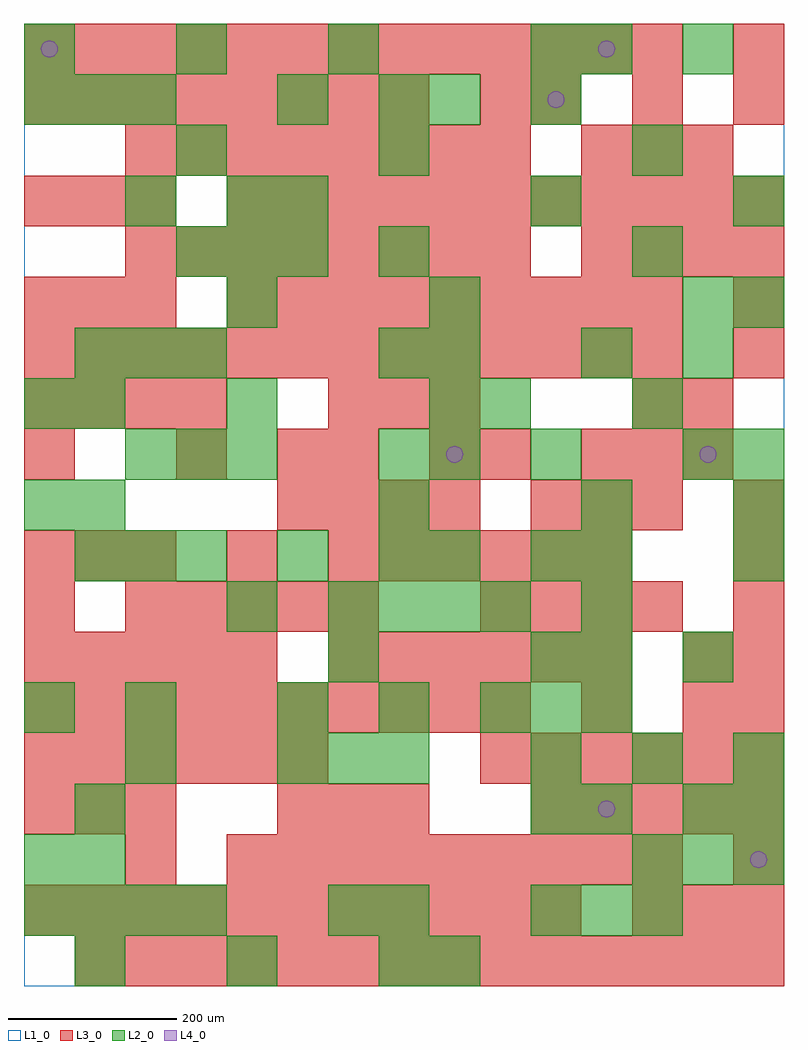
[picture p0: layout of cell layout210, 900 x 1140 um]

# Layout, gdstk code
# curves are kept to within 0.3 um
import gdstk
lib = gdstk.Library(unit=1e-6, precision=1e-09)
def R(c, l, rs):  # rectangles x0, y0, x1, y1
    for r in rs: c.add(gdstk.rectangle(r[:2], r[2:], *l))
def A(c, l, x, y, w, h, nx, ny, dx, dy):  # array of equal rectangles
    R(c, l, [(x+i*dx, y+j*dy, x+i*dx+w, y+j*dy+h) for i in range(nx) for j in range(ny)])
def P(c, l, *ps):  # polygons
    for p in ps: c.add(gdstk.Polygon(p, *l))
L1_0 = (1, 0)
L2_0 = (2, 0)
L3_0 = (3, 0)
L4_0 = (4, 0)

layout210 = lib.new_cell('layout210')
R(layout210, L1_0, [(0,0,900,1140)])
A(layout210, L2_0, 60, 0, 60, 60, 3, 1, 180, 0)
A(layout210, L2_0, 0, 60, 60, 60, 4, 1, 60, 0)
A(layout210, L2_0, 600, 60, 60, 60, 3, 1, 60, 0)
A(layout210, L2_0, 720, 120, 60, 60, 3, 1, 60, 0)
A(layout210, L2_0, 300, 240, 60, 60, 3, 1, 60, 0)
A(layout210, L2_0, 600, 240, 60, 60, 3, 1, 120, 0)
A(layout210, L2_0, 300, 300, 60, 60, 3, 1, 120, 0)
A(layout210, L2_0, 660, 300, 60, 60, 1, 5, 0, 60)
A(layout210, L2_0, 600, 360, 60, 60, 1, 3, 0, 120)
A(layout210, L2_0, 360, 420, 60, 60, 4, 1, 60, 0)
A(layout210, L2_0, 60, 480, 60, 60, 3, 2, 60, 240)
A(layout210, L2_0, 420, 480, 60, 60, 1, 3, 0, 60)
A(layout210, L2_0, 840, 480, 60, 60, 1, 3, 0, 60)
A(layout210, L2_0, 120, 600, 60, 60, 3, 1, 60, 0)
A(layout210, L2_0, 480, 600, 60, 60, 1, 4, 0, 60)
A(layout210, L2_0, 240, 660, 60, 60, 1, 3, 0, 120)
A(layout210, L2_0, 420, 720, 60, 60, 1, 3, 0, 120)
A(layout210, L2_0, 180, 840, 60, 60, 3, 1, 60, 0)
A(layout210, L2_0, 0, 1020, 60, 60, 3, 1, 60, 0)
A(layout210, L2_0, 0, 1080, 60, 60, 3, 1, 180, 0)
R(layout210, L2_0, [(480,0,540,60), (360,60,420,120), (420,60,480,120), (0,120,60,180), (60,120,120,180), (60,180,120,240), (600,180,660,240), (660,180,720,240), (780,180,840,240), (840,180,900,240), (120,240,180,300), (0,300,60,360), (120,300,180,360), (600,300,660,360), (360,360,420,420), (780,360,840,420), (240,420,300,480), (300,480,360,540), (480,480,540,540), (0,540,60,600), (60,540,120,600), (780,600,840,660), (0,660,60,720), (60,660,120,720), (540,660,600,720), (720,660,780,720), (660,720,720,780), (780,720,840,780), (780,780,840,840), (840,780,900,840), (720,840,780,900), (120,900,180,960), (300,900,360,960), (600,900,660,960), (840,900,900,960), (180,960,240,1020), (720,960,780,1020), (300,1020,360,1080), (420,1020,480,1080), (480,1020,540,1080), (600,1020,660,1080), (600,1080,660,1140), (660,1080,720,1140), (780,1080,840,1140)])
A(layout210, L3_0, 60, 0, 60, 60, 14, 1, 60, 0)
A(layout210, L3_0, 0, 60, 60, 60, 11, 1, 60, 0)
A(layout210, L3_0, 720, 60, 60, 60, 3, 1, 60, 0)
A(layout210, L3_0, 240, 120, 60, 60, 9, 2, 60, 660)
A(layout210, L3_0, 0, 180, 60, 60, 3, 3, 60, 300)
A(layout210, L3_0, 300, 180, 60, 60, 3, 1, 60, 0)
A(layout210, L3_0, 600, 180, 60, 60, 5, 1, 60, 0)
A(layout210, L3_0, 0, 240, 60, 60, 6, 1, 60, 0)
A(layout210, L3_0, 540, 240, 60, 60, 6, 1, 60, 0)
A(layout210, L3_0, 0, 300, 60, 60, 10, 1, 60, 0)
A(layout210, L3_0, 840, 300, 60, 60, 1, 5, 0, 60)
A(layout210, L3_0, 0, 360, 60, 60, 5, 1, 60, 0)
A(layout210, L3_0, 360, 360, 60, 60, 6, 2, 60, 120)
A(layout210, L3_0, 120, 420, 60, 60, 5, 1, 60, 0)
A(layout210, L3_0, 540, 420, 60, 60, 4, 1, 60, 0)
A(layout210, L3_0, 300, 540, 60, 60, 4, 1, 60, 0)
A(layout210, L3_0, 600, 540, 60, 60, 3, 1, 60, 0)
A(layout210, L3_0, 660, 600, 60, 60, 3, 2, 60, 360)
A(layout210, L3_0, 0, 660, 60, 60, 4, 1, 60, 0)
A(layout210, L3_0, 360, 660, 60, 60, 3, 1, 60, 0)
A(layout210, L3_0, 0, 720, 60, 60, 13, 2, 60, 360)
A(layout210, L3_0, 120, 840, 60, 60, 8, 2, 60, 120)
A(layout210, L3_0, 660, 840, 60, 60, 4, 1, 60, 0)
A(layout210, L3_0, 0, 900, 60, 60, 3, 1, 60, 0)
A(layout210, L3_0, 240, 900, 60, 60, 11, 1, 60, 0)
A(layout210, L3_0, 0, 1020, 60, 60, 8, 1, 60, 0)
A(layout210, L3_0, 600, 1020, 60, 60, 3, 1, 120, 0)
R(layout210, L3_0, [(120,120,180,180), (840,120,900,180), (660,300,720,360), (780,300,840,360), (780,360,840,420), (0,420,60,480), (240,480,300,540), (0,600,60,660), (180,600,240,660), (300,600,360,660), (360,600,420,660), (480,600,540,660), (540,600,600,660), (720,660,780,720), (780,660,840,720), (840,720,900,780), (840,780,900,840), (540,1020,600,1080), (840,1080,900,1140)])
P(layout210, L4_0, [(40,1110),(39.239,1113.827),(37.071,1117.071),(33.827,1119.239),(30,1120),(26.173,1119.239),(22.929,1117.071),(20.761,1113.827),(20,1110),(20.761,1106.173),(22.929,1102.929),(26.173,1100.761),(30,1100),(33.827,1100.761),(37.071,1102.929),(39.239,1106.173)],
  [(520,630),(519.239,633.827),(517.071,637.071),(513.827,639.239),(510,640),(506.173,639.239),(502.929,637.071),(500.761,633.827),(500,630),(500.761,626.173),(502.929,622.929),(506.173,620.761),(510,620),(513.827,620.761),(517.071,622.929),(519.239,626.173)],
  [(640,1050),(639.239,1053.827),(637.071,1057.071),(633.827,1059.239),(630,1060),(626.173,1059.239),(622.929,1057.071),(620.761,1053.827),(620,1050),(620.761,1046.173),(622.929,1042.929),(626.173,1040.761),(630,1040),(633.827,1040.761),(637.071,1042.929),(639.239,1046.173)],
  [(700,210),(699.239,213.827),(697.071,217.071),(693.827,219.239),(690,220),(686.173,219.239),(682.929,217.071),(680.761,213.827),(680,210),(680.761,206.173),(682.929,202.929),(686.173,200.761),(690,200),(693.827,200.761),(697.071,202.929),(699.239,206.173)],
  [(700,1110),(699.239,1113.827),(697.071,1117.071),(693.827,1119.239),(690,1120),(686.173,1119.239),(682.929,1117.071),(680.761,1113.827),(680,1110),(680.761,1106.173),(682.929,1102.929),(686.173,1100.761),(690,1100),(693.827,1100.761),(697.071,1102.929),(699.239,1106.173)],
  [(820,630),(819.239,633.827),(817.071,637.071),(813.827,639.239),(810,640),(806.173,639.239),(802.929,637.071),(800.761,633.827),(800,630),(800.761,626.173),(802.929,622.929),(806.173,620.761),(810,620),(813.827,620.761),(817.071,622.929),(819.239,626.173)],
  [(880,150),(879.239,153.827),(877.071,157.071),(873.827,159.239),(870,160),(866.173,159.239),(862.929,157.071),(860.761,153.827),(860,150),(860.761,146.173),(862.929,142.929),(866.173,140.761),(870,140),(873.827,140.761),(877.071,142.929),(879.239,146.173)])

lib.write_gds('layout210.gds')
